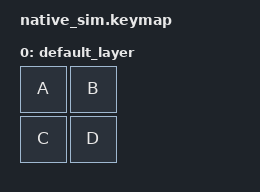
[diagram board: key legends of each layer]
#include <dt-bindings/zmk/keys.h>
#include <behaviors.dtsi>
#include <dt-bindings/zmk/input_matrix_mock.h>

/ {
    combos {
        compatible = "zmk,combos";
        combo_one {
            timeout-ms = <80>;
            key-positions = <0 1 2 3>;
            bindings = <&kp Z>;
        };
    };

    keymap {
        compatible = "zmk,keymap";

        default_layer {
            bindings = <
                &kp A &kp B
                &kp C &kp D
            >;
        };
    };
};

&matrix {
    events = <
        ZMK_MOCK_PRESS(1,1,10)
        ZMK_MOCK_PRESS(0,1,10)
        ZMK_MOCK_PRESS(1,0,10)
        ZMK_MOCK_PRESS(0,0,10)
        ZMK_MOCK_RELEASE(0,0,100)
        ZMK_MOCK_RELEASE(1,0,100)
        ZMK_MOCK_RELEASE(0,1,100)
        ZMK_MOCK_RELEASE(1,1,100)
    >;
};
